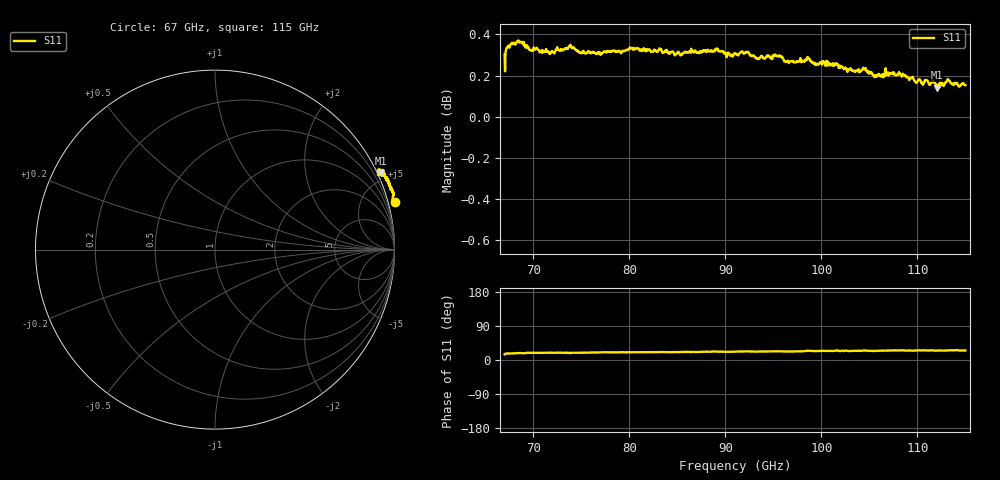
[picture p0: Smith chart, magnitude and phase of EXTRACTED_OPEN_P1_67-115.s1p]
! Generated by Phase I extraction
# Hz S RI R 50
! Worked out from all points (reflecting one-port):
!   1001 points, 67 GHz to 115 GHz, reference 50 ohm
!   lowest |S11| = 0.1 dB at 112 GHz (marker M1)
!   phase of S11 starts at 15 deg and turns +10 deg over the sweep
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6.7e10  1.001 0.2668
6.7336e10  0.9943 0.3058
6.844e10  0.9905 0.3288
7.3e10  0.9807 0.3402
7.3624e10  0.9821 0.3403
7.7416e10  0.9716 0.3629
7.9e10  0.9722 0.3605
8.5e10  0.9674 0.3713
8.7256e10  0.9676 0.3706
8.884e10  0.9612 0.3907
9.0232e10  0.9637 0.3813
9.1e10  0.961 0.3873
9.22e10  0.9564 0.4008
9.3208e10  0.958 0.3884
9.5416e10  0.9522 0.4041
9.7e10  0.9531 0.3941
9.8056e10  0.9497 0.4037
9.8632e10  0.941 0.4277
9.9256e10  0.9456 0.4083
1.01512e11  0.9346 0.4335
1.03e11  0.9397 0.4139
1.04488e11  0.9313 0.4335
1.05496e11  0.9354 0.4136
1.0756e11  0.9253 0.4413
1.09e11  0.927 0.4318
1.12024e11  0.9224 0.427
1.13944e11  0.9173 0.4438
1.15e11  0.9216 0.4321
